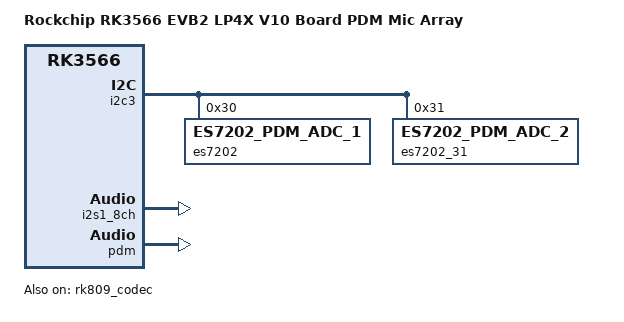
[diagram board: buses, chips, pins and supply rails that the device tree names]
// SPDX-License-Identifier: (GPL-2.0+ OR MIT)
/*
 * Copyright (c) 2020 Rockchip Electronics Co., Ltd.
 *
 */

#include "rk3566-evb2-lp4x-v10.dtsi"
#include "rk3568-android.dtsi"

/ {
	model = "Rockchip RK3566 EVB2 LP4X V10 Board PDM Mic Array";
	compatible = "rockchip,rk3566-evb2-lp4x-v10", "rockchip,rk3566";

	rk809_sound_micarray: rk809-sound-micarray {
		compatible = "simple-audio-card";
		simple-audio-card,format = "i2s";
		simple-audio-card,name = "rockchip,rk809-codec";
		simple-audio-card,mclk-fs = <256>;

		simple-audio-card,dai-link@0 {
			format = "i2s";
			cpu {
				sound-dai = <&i2s1_8ch>;
			};
			codec {
				sound-dai = <&rk809_codec 0>;
			};
		};
		simple-audio-card,dai-link@1 {
			format = "pdm";
			cpu {
				sound-dai = <&pdm>;
			};
			codec {
				sound-dai = <&rk809_codec 1>;
			};
		};
		simple-audio-card,dai-link@2 {
			format = "pdm";
			cpu {
				sound-dai = <&pdm>;
			};
			codec {
				sound-dai = <&es7202>;
			};
		};
	};
};

&i2c3 {
	status = "okay";

	es7202: es7202@30 {
		status = "okay";
		#sound-dai-cells = <0>;
		compatible = "ES7202_PDM_ADC_1";
		reg = <0x30>;
	};

	es7202_31: es7202@31 {
		status = "okay";
		#sound-dai-cells = <0>;
		compatible = "ES7202_PDM_ADC_2";
		reg = <0x31>;
	};
};

&i2s1_8ch {
	status = "okay";
	#sound-dai-cells = <0>;
	rockchip,clk-trcm = <1>;
	pinctrl-names = "default";
	pinctrl-0 = <&i2s1m0_sclktx
		     &i2s1m0_lrcktx
		     &i2s1m0_sdo0>;
};

&pdm {
	status = "okay";
	#sound-dai-cells = <0>;
	pinctrl-names = "default";
	pinctrl-0 = <&pdmm0_clk
			&pdmm0_clk1
			&pdmm0_sdi0
			&pdmm0_sdi1
			&pdmm0_sdi2
			&pdmm0_sdi3>;
};

&rk809_codec {
	#sound-dai-cells = <1>;
	compatible = "rockchip,rk809-codec", "rockchip,rk817-codec";
	clocks = <&cru I2S1_MCLKOUT>;
	clock-names = "mclk";
	assigned-clocks = <&cru I2S1_MCLKOUT>, <&cru I2S1_MCLK_TX_IOE>;
	assigned-clock-rates = <12288000>;
	assigned-clock-parents = <&cru I2S1_MCLKOUT_TX>, <&cru I2S1_MCLKOUT_TX>;
	pinctrl-names = "default";
	pinctrl-0 = <&i2s1m0_mclk>;
	pdmdata-out-enable;
	adc-for-loopback;
	hp-volume = <20>;
	spk-volume = <3>;
	mic-in-differential;
	status = "okay";
};

&rk809_sound {
	status = "disabled";
};

